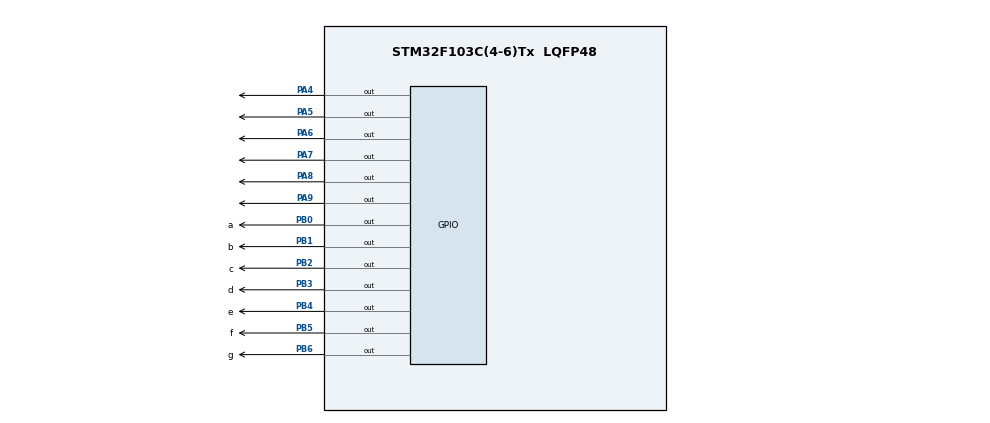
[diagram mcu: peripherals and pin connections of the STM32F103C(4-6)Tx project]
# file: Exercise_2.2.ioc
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Mcu.Family=STM32F1
Mcu.Name=STM32F103C(4-6)Tx
Mcu.Package=LQFP48
NVIC.PriorityGroup=NVIC_PRIORITYGROUP_4
NVIC.TIM2_IRQn=true\:0\:0\:false\:false\:true\:true\:true\:true
PA4.Signal=GPIO_Output
PA5.Signal=GPIO_Output
PA6.Signal=GPIO_Output
PA7.Signal=GPIO_Output
PA8.Signal=GPIO_Output
PA9.Signal=GPIO_Output
PB0.GPIO_Label=a
PB0.Signal=GPIO_Output
PB1.GPIO_Label=b
PB1.Signal=GPIO_Output
PB2.GPIO_Label=c
PB2.Signal=GPIO_Output
PB3.GPIO_Label=d
PB3.Signal=GPIO_Output
PB4.GPIO_Label=e
PB4.Signal=GPIO_Output
PB5.GPIO_Label=f
PB5.Signal=GPIO_Output
PB6.GPIO_Label=g
PB6.Signal=GPIO_Output
ProjectManager.HeapSize=0x200
ProjectManager.StackSize=0x400
ProjectManager.TargetToolchain=STM32CubeIDE
RCC.APB1Freq_Value=8000000
RCC.APB2Freq_Value=8000000
TIM2.Period=0
TIM2.Prescaler=7999
VP_SYS_VS_ND.Mode=No_Debug
VP_TIM2_VS_ClockSourceINT.Mode=Internal
board=custom

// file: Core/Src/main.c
/* USER CODE BEGIN Header */
/**
  ******************************************************************************
  * @file           : main.c
  * @brief          : Main program body
  ******************************************************************************
  * @attention
  *
  * Copyright (c) 2025 STMicroelectronics.
  * All rights reserved.
  *
  * This software is licensed under terms that can be found in the LICENSE file
  * in the root directory of this software component.
  * If no LICENSE file comes with this software, it is provided AS-IS.
  *
  ******************************************************************************
  */
/* USER CODE END Header */
#include "main.h"
#include "software_timer.h"

/* USER CODE BEGIN Includes */
void number(int n);
/* USER CODE END Includes */

TIM_HandleTypeDef htim2;

void SystemClock_Config(void);
static void MX_GPIO_Init(void);
static void MX_TIM2_Init(void);

int main(void)
{

  /* MCU Configuration--------------------------------------------------------*/

  /* Reset of all peripherals, Initializes the Flash interface and the Systick. */
  HAL_Init();

  /* Configure the system clock */
  SystemClock_Config();

  /* Initialize all configured peripherals */
  MX_GPIO_Init();
  MX_TIM2_Init();
  /* USER CODE BEGIN 2 */
  HAL_TIM_Base_Start_IT(&htim2);
  /* USER CODE END 2 */

  /* Infinite loop */
  while (1)
  {

  }
}

void SystemClock_Config(void)
{
  RCC_OscInitTypeDef RCC_OscInitStruct = {0};
  RCC_ClkInitTypeDef RCC_ClkInitStruct = {0};

  /** Initializes the RCC Oscillators according to the specified parameters
  * in the RCC_OscInitTypeDef structure.
  */
  RCC_OscInitStruct.OscillatorType = RCC_OSCILLATORTYPE_HSI;
  RCC_OscInitStruct.HSIState = RCC_HSI_ON;
  RCC_OscInitStruct.HSICalibrationValue = RCC_HSICALIBRATION_DEFAULT;
  RCC_OscInitStruct.PLL.PLLState = RCC_PLL_NONE;
  if (HAL_RCC_OscConfig(&RCC_OscInitStruct) != HAL_OK)
  {
    Error_Handler();
  }

  /** Initializes the CPU, AHB and APB buses clocks
  */
  RCC_ClkInitStruct.ClockType = RCC_CLOCKTYPE_HCLK|RCC_CLOCKTYPE_SYSCLK
                              |RCC_CLOCKTYPE_PCLK1|RCC_CLOCKTYPE_PCLK2;
  RCC_ClkInitStruct.SYSCLKSource = RCC_SYSCLKSOURCE_HSI;
  RCC_ClkInitStruct.AHBCLKDivider = RCC_SYSCLK_DIV1;
  RCC_ClkInitStruct.APB1CLKDivider = RCC_HCLK_DIV1;
  RCC_ClkInitStruct.APB2CLKDivider = RCC_HCLK_DIV1;

  if (HAL_RCC_ClockConfig(&RCC_ClkInitStruct, FLASH_LATENCY_0) != HAL_OK)
  {
    Error_Handler();
  }
}

static void MX_TIM2_Init(void)
{

  TIM_ClockConfigTypeDef sClockSourceConfig = {0};
  TIM_MasterConfigTypeDef sMasterConfig = {0};

  htim2.Instance = TIM2;
  htim2.Init.Prescaler = 7999;
  htim2.Init.CounterMode = TIM_COUNTERMODE_UP;
  htim2.Init.Period = 9;
  htim2.Init.ClockDivision = TIM_CLOCKDIVISION_DIV1;
  htim2.Init.AutoReloadPreload = TIM_AUTORELOAD_PRELOAD_DISABLE;
  if (HAL_TIM_Base_Init(&htim2) != HAL_OK)
  {
    Error_Handler();
  }
  sClockSourceConfig.ClockSource = TIM_CLOCKSOURCE_INTERNAL;
  if (HAL_TIM_ConfigClockSource(&htim2, &sClockSourceConfig) != HAL_OK)
  {
    Error_Handler();
  }
  sMasterConfig.MasterOutputTrigger = TIM_TRGO_RESET;
  sMasterConfig.MasterSlaveMode = TIM_MASTERSLAVEMODE_DISABLE;
  if (HAL_TIMEx_MasterConfigSynchronization(&htim2, &sMasterConfig) != HAL_OK)
  {
    Error_Handler();
  }

}

static void MX_GPIO_Init(void)
{
  GPIO_InitTypeDef GPIO_InitStruct = {0};

  /* GPIO Ports Clock Enable */
  __HAL_RCC_GPIOA_CLK_ENABLE();
  __HAL_RCC_GPIOB_CLK_ENABLE();

  /*Configure GPIO pin Output Level */
  HAL_GPIO_WritePin(GPIOA, GPIO_PIN_4|GPIO_PIN_5|GPIO_PIN_6|GPIO_PIN_7
                          |GPIO_PIN_8|GPIO_PIN_9, GPIO_PIN_SET);;

  /*Configure GPIO pin Output Level */
  HAL_GPIO_WritePin(GPIOB, a_Pin|b_Pin|c_Pin|d_Pin
                          |e_Pin|f_Pin|g_Pin, GPIO_PIN_SET);

  /*Configure GPIO pins : PA4 PA5 PA6 PA7
                           PA8 PA9 */
  GPIO_InitStruct.Pin = GPIO_PIN_4|GPIO_PIN_5|GPIO_PIN_6|GPIO_PIN_7
                          |GPIO_PIN_8|GPIO_PIN_9;
  GPIO_InitStruct.Mode = GPIO_MODE_OUTPUT_PP;
  GPIO_InitStruct.Pull = GPIO_NOPULL;
  GPIO_InitStruct.Speed = GPIO_SPEED_FREQ_LOW;
  HAL_GPIO_Init(GPIOA, &GPIO_InitStruct);

  /*Configure GPIO pins : a_Pin b_Pin c_Pin d_Pin
                           e_Pin f_Pin g_Pin */
  GPIO_InitStruct.Pin = a_Pin|b_Pin|c_Pin|d_Pin
                          |e_Pin|f_Pin|g_Pin;
  GPIO_InitStruct.Mode = GPIO_MODE_OUTPUT_PP;
  GPIO_InitStruct.Pull = GPIO_NOPULL;
  GPIO_InitStruct.Speed = GPIO_SPEED_FREQ_LOW;
  HAL_GPIO_Init(GPIOB, &GPIO_InitStruct);

}

/* USER CODE BEGIN 4 */
uint8_t segment_code[10] = {0x3F, 0x06, 0x5B, 0x4F, 0x66,
                            0x6D, 0x7D, 0x07, 0x7F, 0x6F};

void number(int n){
    uint8_t code = segment_code[n];
    GPIOB->ODR = ~code;
}
int counter1 = 50;
int counter2 = 100;
int status = 1;
void HAL_TIM_PeriodElapsedCallback(TIM_HandleTypeDef *htim){
	counter1--;
	counter2--;
	if(counter1 <= 0){
		counter1 = 50;
		switch (status){
			case 1:
				HAL_GPIO_WritePin(GPIOA, GPIO_PIN_7|GPIO_PIN_8|GPIO_PIN_9, GPIO_PIN_SET);
				HAL_GPIO_WritePin(GPIOA, GPIO_PIN_6, GPIO_PIN_RESET);
				number(1);
				break;
			case 2:
				HAL_GPIO_WritePin(GPIOA, GPIO_PIN_6|GPIO_PIN_8|GPIO_PIN_9, GPIO_PIN_SET);
				HAL_GPIO_WritePin(GPIOA, GPIO_PIN_7, GPIO_PIN_RESET);
				number(2);
				break;
			case 3:
				HAL_GPIO_WritePin(GPIOA, GPIO_PIN_6|GPIO_PIN_7|GPIO_PIN_9, GPIO_PIN_SET);
				HAL_GPIO_WritePin(GPIOA, GPIO_PIN_8, GPIO_PIN_RESET);
				number(3);
				break;
			case 4:
				HAL_GPIO_WritePin(GPIOA, GPIO_PIN_6|GPIO_PIN_7|GPIO_PIN_8, GPIO_PIN_SET);
				HAL_GPIO_WritePin(GPIOA, GPIO_PIN_9, GPIO_PIN_RESET);
				number(0);
				break;
		}
		status++;
		if(status > 4){
			status = 1;
		}
	}
	if(counter2 <= 0){
		counter2 = 100;
		HAL_GPIO_TogglePin(GPIOA, GPIO_PIN_5);
		HAL_GPIO_TogglePin(GPIOA, GPIO_PIN_4);
	}
}
/* USER CODE END 4 */

void Error_Handler(void)
{
  __disable_irq();
  while (1)
  {
  }
}
